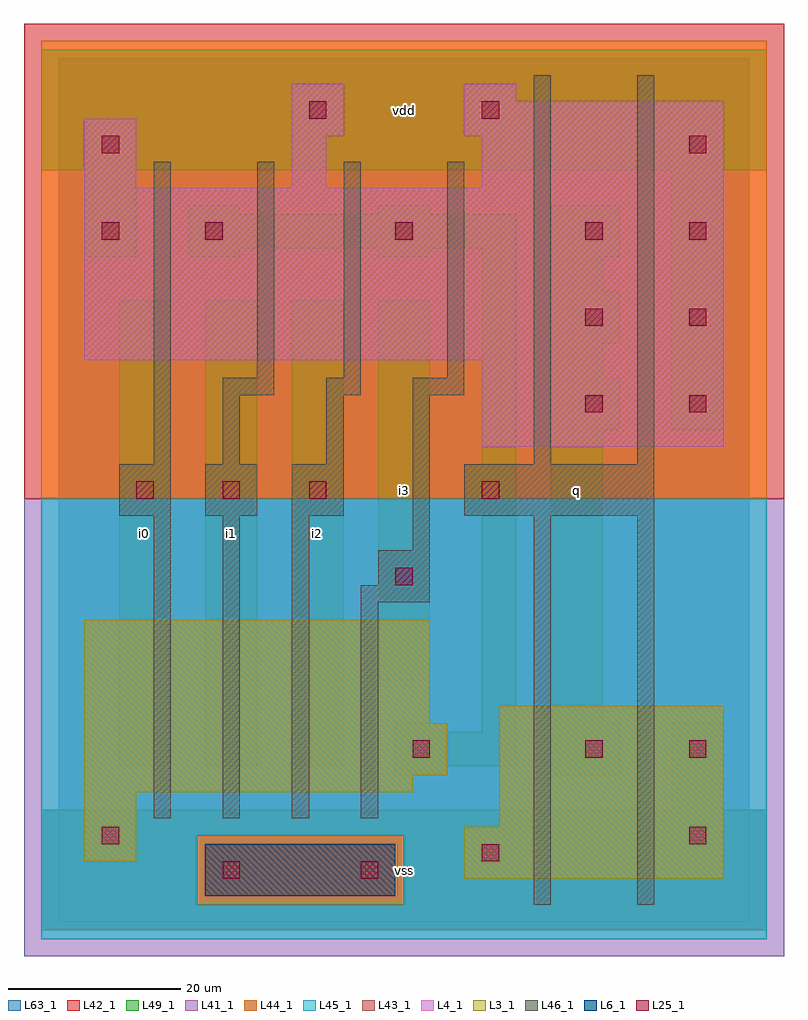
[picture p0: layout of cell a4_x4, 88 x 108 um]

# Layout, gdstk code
import gdstk
lib = gdstk.Library(unit=1e-6, precision=1e-09)
def R(c, l, rs):  # rectangles x0, y0, x1, y1
    for r in rs: c.add(gdstk.rectangle(r[:2], r[2:], *l))
def A(c, l, x, y, w, h, nx, ny, dx, dy):  # array of equal rectangles
    R(c, l, [(x+i*dx, y+j*dy, x+i*dx+w, y+j*dy+h) for i in range(nx) for j in range(ny)])
L3_1 = (3, 1)
L4_1 = (4, 1)
L6_1 = (6, 1)
L25_1 = (25, 1)
L41_1 = (41, 1)
L42_1 = (42, 1)
L43_1 = (43, 1)
L44_1 = (44, 1)
L45_1 = (45, 1)
L46_1 = (46, 1)
L49_1 = (49, 1)
L63_1 = (63, 1)

a4_x4 = lib.new_cell('a4_x4')
R(a4_x4, L3_1, [(47,5,77,11), (3,7,9,15), (51,11,77,25), (3,15,41,17), (3,17,45,23), (3,23,43,35)])
R(a4_x4, L4_1, [(49,55,77,65), (3,65,77,85), (3,85,9,93), (27,85,31,91), (49,85,77,91), (27,91,33,97), (47,91,77,95), (47,95,53,97)])
R(a4_x4, L6_1, [(17,3,39,9)])
A(a4_x4, L25_1, 9, 49, 2, 2, 3, 1, 10, 0)
A(a4_x4, L25_1, 73, 59, 2, 2, 1, 4, 0, 10)
A(a4_x4, L25_1, 17, 79, 2, 2, 3, 1, 22, 0)
R(a4_x4, L25_1, [(19,5,21,7), (35,5,37,7), (49,7,51,9), (5,9,7,11), (73,9,75,11), (41,19,43,21), (61,19,63,21), (73,19,75,21), (39,39,41,41), (49,49,51,51), (61,59,63,61), (61,69,63,71), (5,79,7,81), (5,89,7,91), (29,93,31,95), (49,93,51,95)])
R(a4_x4, L41_1, [(-4,-4,84,49)])
R(a4_x4, L42_1, [(-4,49,84,104)])
R(a4_x4, L43_1, [(17,3,39,9), (47,5,77,11), (3,7,9,15), (51,11,77,25), (3,15,41,17), (3,17,45,23), (3,23,43,35), (49,55,77,65), (3,65,77,85), (3,85,9,93), (27,85,31,91), (49,85,77,91), (27,91,33,97), (47,91,77,95), (47,95,53,97)])
R(a4_x4, L44_1, [(16,2,40,10), (-2,49,82,102)])
R(a4_x4, L45_1, [(-2,-2,82,2), (-2,2,16,10), (40,2,82,10), (-2,10,82,49)])
A(a4_x4, L46_1, 11, 12, 2, 35, 3, 1, 8, 0)
A(a4_x4, L46_1, 7, 47, 6, 6, 3, 1, 10, 0)
R(a4_x4, L46_1, [(55,2,57,47), (67,2,69,47), (35,12,37,37), (35,37,43,39), (37,39,43,43), (41,43,43,61), (47,47,69,53), (11,53,13,88), (19,53,21,61), (31,53,33,61), (55,53,57,98), (67,53,69,98), (19,61,25,63), (31,61,35,63), (41,61,47,63), (23,63,25,88), (33,63,35,88), (45,63,47,88)])
A(a4_x4, L49_1, 7, 18, 6, 54, 3, 1, 10, 0)
A(a4_x4, L49_1, 57, 57, 8, 6, 1, 3, 0, 10)
R(a4_x4, L49_1, [(-2,-1,82,13), (71,13,77,23), (39,17,45,18), (57,17,65,23), (39,18,53,22), (39,22,45,23), (49,22,53,47), (57,23,63,57), (37,28,43,72), (47,47,53,53), (49,53,53,78), (71,57,77,87), (57,63,63,67), (57,73,63,77), (3,77,9,87), (15,77,21,78), (37,77,43,78), (15,78,53,82), (15,82,21,83), (37,82,43,83), (-2,87,82,101)])
R(a4_x4, L63_1, [(0,0,80,100)])
a4_x4.add(gdstk.Label('i0', (10,45), layer=49, texttype=1))
a4_x4.add(gdstk.Label('i0', (10,45), layer=49, texttype=1))
a4_x4.add(gdstk.Label('i1', (20,45), layer=49, texttype=1))
a4_x4.add(gdstk.Label('i1', (20,45), layer=49, texttype=1))
a4_x4.add(gdstk.Label('i2', (30,45), layer=49, texttype=1))
a4_x4.add(gdstk.Label('i2', (30,45), layer=49, texttype=1))
a4_x4.add(gdstk.Label('vss', (40,6), layer=49, texttype=1))
a4_x4.add(gdstk.Label('vss', (40,6), layer=49, texttype=1))
a4_x4.add(gdstk.Label('q', (60,50), layer=49, texttype=1))
a4_x4.add(gdstk.Label('q', (60,50), layer=49, texttype=1))
a4_x4.add(gdstk.Label('i3', (40,50), layer=49, texttype=1))
a4_x4.add(gdstk.Label('i3', (40,50), layer=49, texttype=1))
a4_x4.add(gdstk.Label('vdd', (40,94), layer=49, texttype=1))
a4_x4.add(gdstk.Label('vdd', (40,94), layer=49, texttype=1))

lib.write_gds('a4_x4.gds')
